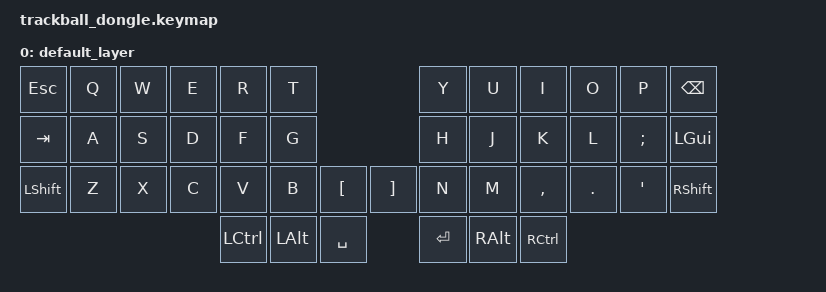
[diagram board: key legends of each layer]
#include <behaviors.dtsi>
#include <dt-bindings/zmk/keys.h>

/ {
    keymap {
        compatible = "zmk,keymap";

        default_layer {
            bindings = <
&kp ESC    &kp Q  &kp W  &kp E  &kp R      &kp T                          &kp Y  &kp U     &kp I      &kp O    &kp P     &kp BACKSPACE
&kp TAB    &kp A  &kp S  &kp D  &kp F      &kp G                          &kp H  &kp J     &kp K      &kp L    &kp SEMI  &kp LGUI
&kp LSHFT  &kp Z  &kp X  &kp C  &kp V      &kp B  &kp LBKT     &kp RBKT   &kp N  &kp M     &kp COMMA  &kp DOT  &kp SQT   &kp RSHFT
                                &kp LCTRL  &kp LALT  &kp SPACE    &kp ENTER  &kp RALT  &kp RCTRL
            >;
        };
    };
};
